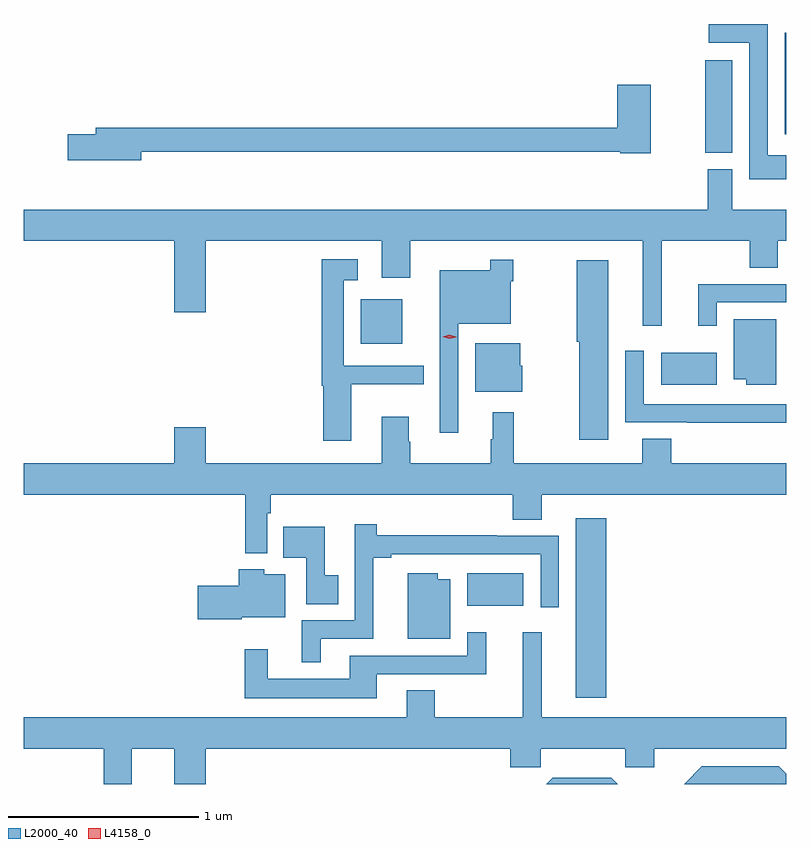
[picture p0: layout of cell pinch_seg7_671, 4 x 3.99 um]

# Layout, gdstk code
import gdstk
lib = gdstk.Library(unit=1e-6, precision=1e-09)
def R(c, l, rs):  # rectangles x0, y0, x1, y1
    for r in rs: c.add(gdstk.rectangle(r[:2], r[2:], *l))
def P(c, l, *ps):  # polygons
    for p in ps: c.add(gdstk.Polygon(p, *l))
L2000_40 = (2000, 40)
L4158_0 = (4158, 0)

pinch_seg7_671 = lib.new_cell('pinch_seg7_671')
R(pinch_seg7_671, L2000_40, [(275.006,1004.88,275.165,1005.82), (274.436,1005.362,274.729,1005.532), (275.453,1006.52,275.746,1006.69), (273.878,1006.736,274.096,1006.969), (275.686,1007.737,275.827,1008.223), (276.101,1007.835,276.11,1008.367)])
P(pinch_seg7_671, L2000_40, [(276.11,1007.724),(276.012,1007.724),(276.012,1008.413),(275.703,1008.413),(275.703,1008.315),(275.916,1008.315),(275.916,1007.6),(276.11,1007.6)],
  [(272.728,1007.742),(275.238,1007.742),(275.238,1007.734),(275.4,1007.734),(275.4,1008.094),(275.222,1008.094),(275.222,1007.87),(272.489,1007.87),(272.489,1007.834),(272.34,1007.834),(272.34,1007.699),(272.728,1007.699)],
  [(272.11,1007.276),(272.9,1007.276),(272.9,1006.902),(273.064,1006.902),(273.064,1007.276),(273.989,1007.276),(273.989,1007.082),(274.138,1007.082),(274.138,1007.276),(275.357,1007.276),(275.357,1006.83),(275.456,1006.83),(275.456,1007.276),(275.917,1007.276),(275.917,1007.134),(276.064,1007.134),(276.064,1007.276),(276.11,1007.276),(276.11,1007.44),(275.827,1007.44),(275.827,1007.652),(275.699,1007.652),(275.699,1007.44),(272.11,1007.44)],
  [(273.829,1006.523),(274.208,1006.523),(274.208,1006.62),(273.789,1006.62),(273.789,1007.069),(273.862,1007.069),(273.862,1007.179),(273.673,1007.179),(273.673,1006.517),(273.68,1006.517),(273.68,1006.227),(273.829,1006.227)],
  [(274.389,1006.841),(274.665,1006.841),(274.665,1007.063),(274.678,1007.063),(274.678,1007.176),(274.557,1007.176),(274.557,1007.122),(274.292,1007.122),(274.292,1006.745),(274.293,1006.745),(274.293,1006.269),(274.389,1006.269)],
  [(275.176,1007.173),(275.012,1007.173),(275.012,1006.746),(275.023,1006.746),(275.023,1006.233),(275.176,1006.233)],
  [(275.745,1006.953),(276.11,1006.953),(276.11,1007.049),(275.648,1007.049),(275.648,1006.83),(275.745,1006.83)],
  [(276.058,1006.864),(275.834,1006.864),(275.834,1006.55),(275.9,1006.55),(275.9,1006.52),(276.058,1006.52)],
  [(274.726,1006.62),(274.714,1006.62),(274.714,1006.738),(274.478,1006.738),(274.478,1006.484),(274.726,1006.484)],
  [(276.11,1006.419),(275.361,1006.419),(275.361,1006.699),(275.265,1006.699),(275.265,1006.323),(275.59,1006.323),(275.59,1006.322),(276.11,1006.322)],
  [(273.064,1006.297),(272.9,1006.297),(272.9,1006.108),(272.11,1006.108),(272.11,1005.944),(273.271,1005.944),(273.271,1005.638),(273.387,1005.638),(273.387,1005.848),(273.407,1005.848),(273.407,1005.944),(274.676,1005.944),(274.676,1005.814),(274.828,1005.814),(274.828,1005.944),(276.11,1005.944),(276.11,1006.108),(275.507,1006.108),(275.507,1006.238),(275.354,1006.238),(275.354,1006.108),(274.681,1006.108),(274.681,1006.378),(274.571,1006.378),(274.571,1006.235),(274.56,1006.235),(274.56,1006.108),(274.137,1006.108),(274.137,1006.223),(274.129,1006.223),(274.129,1006.354),(273.989,1006.354),(273.989,1006.108),(273.064,1006.108)],
  [(273.667,1005.189),(273.944,1005.189),(273.944,1005.613),(274.039,1005.613),(274.039,1005.633),(274.821,1005.633),(274.821,1005.354),(274.917,1005.354),(274.917,1005.729),(274.592,1005.729),(274.592,1005.731),(273.962,1005.731),(273.962,1005.79),(273.846,1005.79),(273.846,1005.285),(273.569,1005.285),(273.569,1005.065),(273.667,1005.065)],
  [(273.761,1005.522),(273.688,1005.522),(273.688,1005.775),(273.472,1005.775),(273.472,1005.614),(273.591,1005.614),(273.591,1005.37),(273.761,1005.37)],
  [(273.255,1005.302),(273.481,1005.302),(273.481,1005.526),(273.372,1005.526),(273.372,1005.553),(273.239,1005.553),(273.239,1005.468),(273.024,1005.468),(273.024,1005.29),(273.255,1005.29)],
  [(274.348,1005.502),(274.282,1005.502),(274.282,1005.532),(274.124,1005.532),(274.124,1005.188),(274.348,1005.188)],
  [(272.677,1004.612),(272.9,1004.612),(272.9,1004.427),(273.064,1004.427),(273.064,1004.612),(274.661,1004.612),(274.661,1004.514),(274.821,1004.514),(274.821,1004.612),(275.266,1004.612),(275.266,1004.514),(275.416,1004.514),(275.416,1004.612),(276.11,1004.612),(276.11,1004.776),(274.826,1004.776),(274.826,1005.223),(274.727,1005.223),(274.727,1004.776),(274.266,1004.776),(274.266,1004.918),(274.118,1004.918),(274.118,1004.776),(272.11,1004.776),(272.11,1004.612),(272.53,1004.612),(272.53,1004.427),(272.677,1004.427)],
  [(273.961,1005.003),(274.535,1005.003),(274.535,1005.223),(274.437,1005.223),(274.437,1005.099),(273.821,1005.099),(273.821,1004.98),(273.391,1004.98),(273.391,1005.133),(273.27,1005.133),(273.27,1004.876),(273.961,1004.876)],
  [(276.11,1004.48),(276.07,1004.52),(275.667,1004.52),(275.574,1004.427),(276.11,1004.427)],
  [(275.193,1004.461),(274.885,1004.461),(274.851,1004.427),(275.226,1004.427)])
P(pinch_seg7_671, L4158_0, [(274.343,1006.763),(274.308,1006.774),(274.307,1006.774),(274.308,1006.774),(274.343,1006.783),(274.379,1006.772),(274.379,1006.771),(274.379,1006.771)])

lib.write_gds('pinch_seg7_671.gds')
